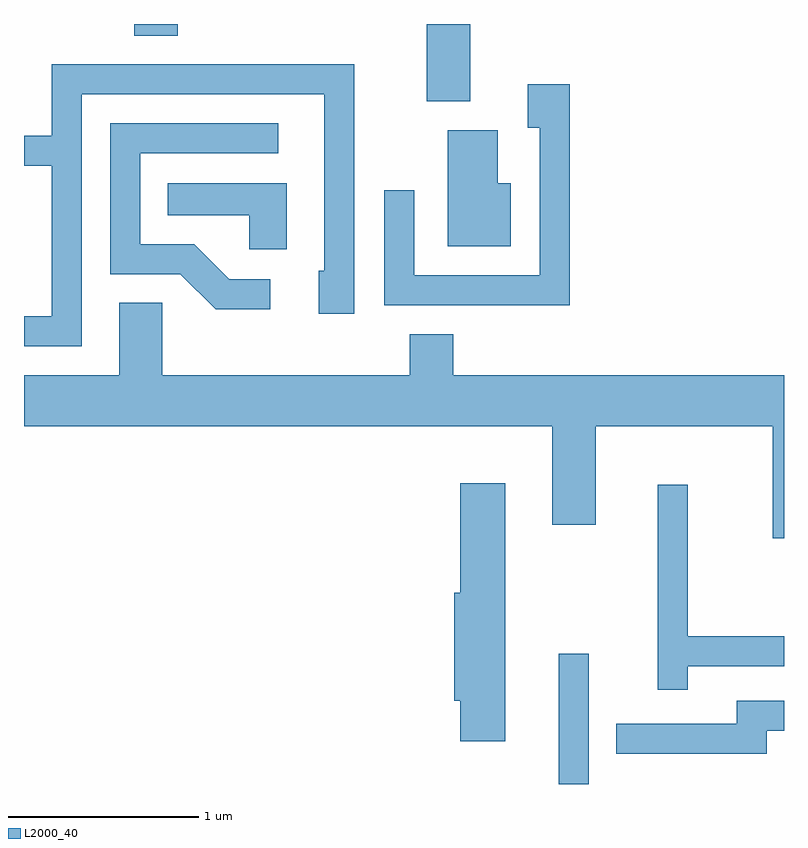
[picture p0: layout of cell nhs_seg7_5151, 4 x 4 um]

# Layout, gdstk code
import gdstk
lib = gdstk.Library(unit=1e-6, precision=1e-09)
def R(c, l, rs):  # rectangles x0, y0, x1, y1
    for r in rs: c.add(gdstk.rectangle(r[:2], r[2:], *l))
def P(c, l, *ps):  # polygons
    for p in ps: c.add(gdstk.Polygon(p, *l))
L2000_40 = (2000, 40)

nhs_seg7_5151 = lib.new_cell('nhs_seg7_5151')
R(nhs_seg7_5151, L2000_40, [(346.426,1670.252,346.584,1670.938), (345.731,1673.846,345.959,1674.252), (344.191,1674.191,344.419,1674.252)])
P(nhs_seg7_5151, L2000_40, [(343.914,1673.881),(345.191,1673.881),(345.191,1672.954),(345.161,1672.954),(345.161,1672.726),(345.349,1672.726),(345.349,1674.039),(343.756,1674.039),(343.756,1673.664),(343.611,1673.664),(343.611,1673.506),(343.756,1673.506),(343.756,1672.714),(343.611,1672.714),(343.611,1672.556),(343.914,1672.556)],
  [(346.484,1673.934),(346.261,1673.934),(346.261,1673.706),(346.326,1673.706),(346.326,1672.929),(345.664,1672.929),(345.664,1673.378),(345.506,1673.378),(345.506,1672.771),(346.484,1672.771)],
  [(344.908,1672.909),(344.692,1672.909),(344.507,1673.094),(344.224,1673.094),(344.224,1673.571),(344.948,1673.571),(344.948,1673.729),(344.066,1673.729),(344.066,1672.936),(344.434,1672.936),(344.619,1672.751),(344.908,1672.751)],
  [(346.174,1673.414),(346.104,1673.414),(346.104,1673.694),(345.841,1673.694),(345.841,1673.081),(346.174,1673.081)],
  [(344.994,1673.414),(344.368,1673.414),(344.368,1673.246),(344.796,1673.246),(344.796,1673.066),(344.994,1673.066)],
  [(347.611,1672.404),(345.869,1672.404),(345.869,1672.619),(345.641,1672.619),(345.641,1672.404),(344.339,1672.404),(344.339,1672.784),(344.111,1672.784),(344.111,1672.404),(343.611,1672.404),(343.611,1672.136),(346.391,1672.136),(346.391,1671.616),(346.619,1671.616),(346.619,1672.136),(347.551,1672.136),(347.551,1671.546),(347.611,1671.546)],
  [(346.144,1671.834),(345.906,1671.834),(345.906,1671.259),(345.876,1671.259),(345.876,1670.691),(345.906,1670.691),(345.906,1670.476),(346.144,1670.476)],
  [(347.104,1670.871),(347.611,1670.871),(347.611,1671.029),(347.104,1671.029),(347.104,1671.828),(346.946,1671.828),(346.946,1670.748),(347.104,1670.748)],
  [(347.519,1670.531),(347.611,1670.531),(347.611,1670.689),(347.361,1670.689),(347.361,1670.569),(346.728,1670.569),(346.728,1670.411),(347.519,1670.411)])

lib.write_gds('nhs_seg7_5151.gds')
